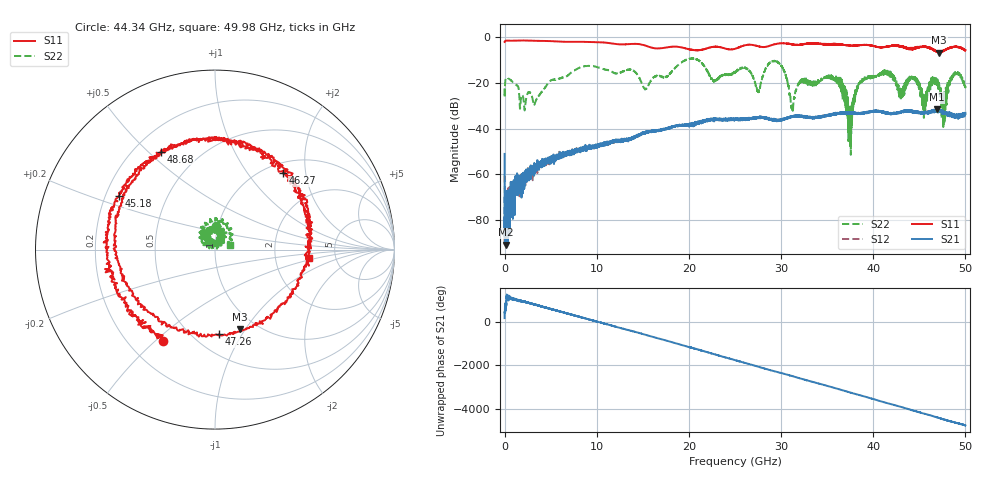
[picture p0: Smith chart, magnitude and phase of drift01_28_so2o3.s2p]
!Created with skrf (http://scikit-rf.org).
# Hz S RI R 50.0
!freq ReS11 ImS11 ReS21 ImS21 ReS12 ImS12 ReS22 ImS22
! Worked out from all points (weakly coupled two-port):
!   10001 points, 300 kHz to 50 GHz, reference 50 ohm
!   highest |S21| = -31.47 dB at 46.88 GHz (marker M1); lowest = -90.8 dB at 165.3 MHz (marker M2)
!   lowest |S11| = -6.6 dB at 47.17 GHz (marker M3), VSWR 2.74, Z = 41.9 - j47.4 ohm
!   |S11| at or under -10 dB: nowhere
!   |S22| runs from -51.4 to -9.2 dB; largest |S21 - S12| = 0.0041
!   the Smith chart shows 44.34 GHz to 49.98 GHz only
!   S11 on the Smith chart (normalised r, x): 44.34 GHz: 0.34, -0.53; 45.18 GHz: 0.25, +0.25; 46.27 GHz: 1.19, +1.51; 47.26 GHz: 0.66, -0.80; 48.68 GHz: 0.31, +0.55; 49.98 GHz: 3.17, -0.40
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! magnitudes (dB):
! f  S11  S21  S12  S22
! 300 kHz  -2.1  -51.0  -60.5  -22.4
! 165.3 MHz  -1.5  -90.8  -76.2  -17.7
! 3.285 GHz  -1.5  -56.1  -56.5  -28.8
! 8.335 GHz  -1.9  -49.6  -48.9  -12.9
! 16.67 GHz  -4.9  -40.6  -41.0  -16.7
! 25 GHz  -5.0  -35.9  -35.8  -15.3
! 29.58 GHz  -2.8  -36.2  -36.6  -10.6
! 31.23 GHz  -3.1  -34.6  -34.6  -31.2
! 33.34 GHz  -2.6  -35.2  -35.1  -20.2
! 36.2 GHz  -3.1  -33.4  -33.1  -21.0
! 37.47 GHz  -3.6  -33.3  -33.1  -34.4
! 38.67 GHz  -3.3  -33.5  -33.3  -19.7
! 41.67 GHz  -3.9  -33.1  -33.1  -15.4
! 44.34 GHz  -4.7  -32.5  -32.4  -17.7
! 45.18 GHz  -4.2  -32.9  -32.7  -24.2
! 46.27 GHz  -4.9  -32.6  -32.5  -17.9
! 46.88 GHz  -6.2  -31.5  -31.8  -20.7
! 47.17 GHz  -6.6  -32.3  -32.0  -21.3
! 47.26 GHz  -6.5  -32.1  -32.4  -24.2
! 48.68 GHz  -4.1  -34.1  -34.1  -16.5
! 49.98 GHz  -5.6  -33.5  -33.1  -21.4
! 50 GHz  -5.6  -33.0  -33.8  -21.5
